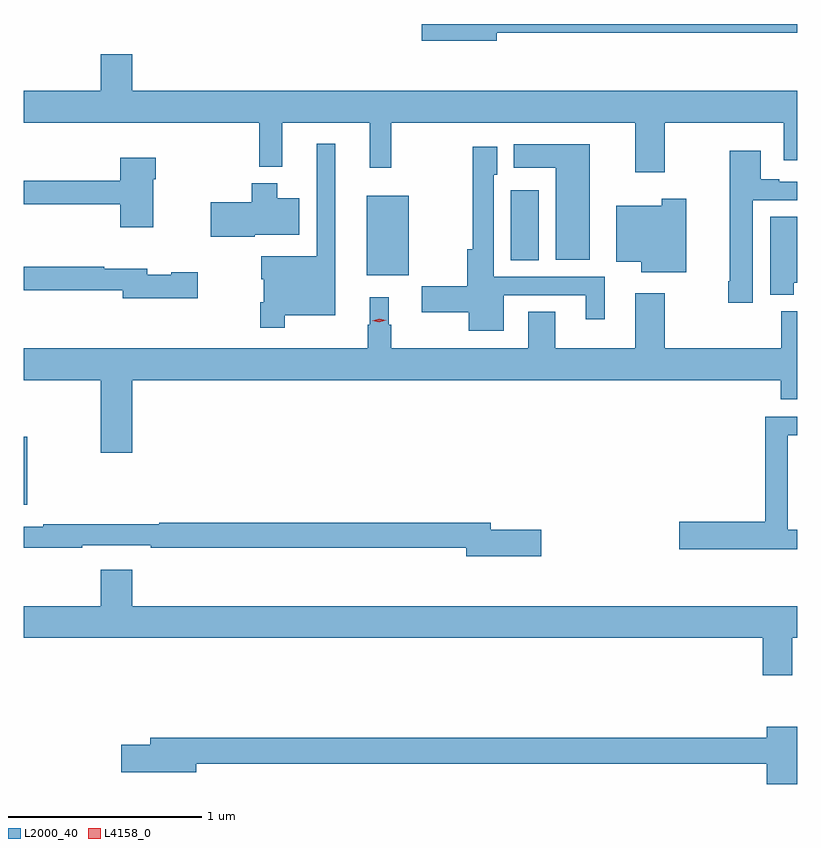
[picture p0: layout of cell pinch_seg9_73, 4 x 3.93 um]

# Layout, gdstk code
import gdstk
lib = gdstk.Library(unit=1e-6, precision=1e-09)
def R(c, l, rs):  # rectangles x0, y0, x1, y1
    for r in rs: c.add(gdstk.rectangle(r[:2], r[2:], *l))
def P(c, l, *ps):  # polygons
    for p in ps: c.add(gdstk.Polygon(p, *l))
L2000_40 = (2000, 40)
L4158_0 = (4158, 0)

pinch_seg9_73 = lib.new_cell('pinch_seg9_73')
R(pinch_seg9_73, L2000_40, [(1015.758,1193.111,1015.775,1193.464), (1017.533,1194.299,1017.748,1194.709), (1018.277,1194.376,1018.42,1194.739)])
P(pinch_seg9_73, L2000_40, [(1018.204,1195.554),(1019.758,1195.554),(1019.758,1195.598),(1017.816,1195.598),(1017.816,1195.511),(1018.204,1195.511)],
  [(1019.072,1195.088),(1019.687,1195.088),(1019.687,1194.894),(1019.758,1194.894),(1019.758,1195.252),(1016.32,1195.252),(1016.32,1195.441),(1016.156,1195.441),(1016.156,1195.252),(1015.758,1195.252),(1015.758,1195.088),(1016.977,1195.088),(1016.977,1194.86),(1017.095,1194.86),(1017.095,1195.088),(1017.548,1195.088),(1017.548,1194.855),(1017.658,1194.855),(1017.658,1195.088),(1018.919,1195.088),(1018.919,1194.831),(1019.072,1194.831)],
  [(1017.109,1194.092),(1017.37,1194.092),(1017.37,1194.979),(1017.273,1194.979),(1017.273,1194.397),(1016.987,1194.397),(1016.987,1194.279),(1016.999,1194.279),(1016.999,1194.159),(1016.98,1194.159),(1016.98,1194.027),(1017.109,1194.027)],
  [(1018.684,1194.976),(1018.292,1194.976),(1018.292,1194.854),(1018.508,1194.854),(1018.508,1194.38),(1018.684,1194.38)],
  [(1018.24,1194.195),(1018.664,1194.195),(1018.664,1194.072),(1018.762,1194.072),(1018.762,1194.291),(1018.188,1194.291),(1018.188,1194.819),(1018.207,1194.819),(1018.207,1194.964),(1018.08,1194.964),(1018.08,1194.433),(1018.051,1194.433),(1018.051,1194.242),(1017.816,1194.242),(1017.816,1194.107),(1018.058,1194.107),(1018.058,1194.011),(1018.24,1194.011)],
  [(1019.527,1194.687),(1019.758,1194.687),(1019.758,1194.783),(1019.665,1194.783),(1019.665,1194.796),(1019.569,1194.796),(1019.569,1194.943),(1019.408,1194.943),(1019.408,1194.268),(1019.401,1194.268),(1019.401,1194.156),(1019.527,1194.156)],
  [(1016.428,1194.794),(1016.441,1194.794),(1016.441,1194.907),(1016.258,1194.907),(1016.258,1194.787),(1015.758,1194.787),(1015.758,1194.666),(1016.258,1194.666),(1016.258,1194.546),(1016.428,1194.546)],
  [(1016.952,1194.509),(1017.184,1194.509),(1017.184,1194.697),(1017.07,1194.697),(1017.07,1194.775),(1016.936,1194.775),(1016.936,1194.675),(1016.724,1194.675),(1016.724,1194.497),(1016.952,1194.497)],
  [(1019.185,1194.694),(1019.056,1194.694),(1019.056,1194.658),(1018.823,1194.658),(1018.823,1194.368),(1018.952,1194.368),(1018.952,1194.314),(1019.185,1194.314)],
  [(1019.74,1194.261),(1019.758,1194.261),(1019.758,1194.602),(1019.618,1194.602),(1019.618,1194.197),(1019.74,1194.197)],
  [(1016.659,1194.314),(1016.52,1194.314),(1016.52,1194.301),(1016.398,1194.301),(1016.398,1194.332),(1016.174,1194.332),(1016.174,1194.343),(1015.758,1194.343),(1015.758,1194.222),(1016.27,1194.222),(1016.27,1194.179),(1016.659,1194.179)],
  [(1016.32,1193.756),(1019.672,1193.756),(1019.672,1193.657),(1019.758,1193.657),(1019.758,1194.112),(1019.675,1194.112),(1019.675,1193.92),(1019.072,1193.92),(1019.072,1194.205),(1018.919,1194.205),(1018.919,1193.92),(1018.507,1193.92),(1018.507,1194.11),(1018.367,1194.11),(1018.367,1193.92),(1017.658,1193.92),(1017.658,1194.044),(1017.646,1194.044),(1017.646,1194.184),(1017.548,1194.184),(1017.548,1194.044),(1017.537,1194.044),(1017.537,1193.92),(1015.758,1193.92),(1015.758,1193.756),(1016.156,1193.756),(1016.156,1193.382),(1016.32,1193.382)],
  [(1019.758,1192.983),(1019.709,1192.983),(1019.709,1193.472),(1019.758,1193.472),(1019.758,1193.568),(1019.593,1193.568),(1019.593,1193.024),(1019.148,1193.024),(1019.148,1192.882),(1019.758,1192.882)],
  [(1018.435,1192.982),(1018.174,1192.982),(1018.174,1193.018),(1016.458,1193.018),(1016.458,1193.011),(1015.858,1193.011),(1015.858,1192.998),(1015.758,1192.998),(1015.758,1192.89),(1016.06,1192.89),(1016.06,1192.902),(1016.416,1192.902),(1016.416,1192.89),(1018.046,1192.89),(1018.046,1192.847),(1018.435,1192.847)],
  [(1019.731,1192.424),(1019.758,1192.424),(1019.758,1192.588),(1016.32,1192.588),(1016.32,1192.777),(1016.156,1192.777),(1016.156,1192.588),(1015.758,1192.588),(1015.758,1192.424),(1019.579,1192.424),(1019.579,1192.23),(1019.731,1192.23)],
  [(1019.758,1191.964),(1019.6,1191.964),(1019.6,1191.908),(1016.411,1191.908),(1016.411,1191.872),(1016.262,1191.872),(1016.262,1191.73),(1016.65,1191.73),(1016.65,1191.772),(1019.6,1191.772),(1019.6,1191.668),(1019.758,1191.668)])
P(pinch_seg9_73, L4158_0, [(1017.597,1194.055),(1017.561,1194.064),(1017.561,1194.064),(1017.561,1194.064),(1017.597,1194.075),(1017.633,1194.066),(1017.633,1194.065),(1017.633,1194.065)])

lib.write_gds('pinch_seg9_73.gds')
